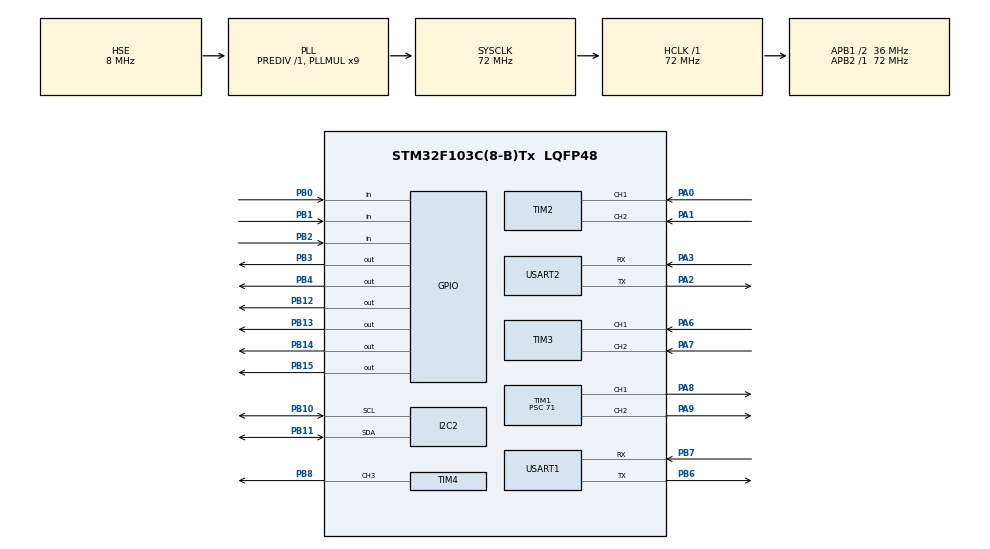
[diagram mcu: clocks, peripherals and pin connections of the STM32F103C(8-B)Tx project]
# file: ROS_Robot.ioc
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Mcu.Family=STM32F1
Mcu.Name=STM32F103C(8-B)Tx
Mcu.Package=LQFP48
NVIC.PriorityGroup=NVIC_PRIORITYGROUP_4
NVIC.TIM1_BRK_IRQn=true\:0\:0\:false\:false\:true\:true\:true\:true
NVIC.TIM1_CC_IRQn=true\:0\:0\:false\:false\:true\:true\:true\:true
NVIC.TIM1_TRG_COM_IRQn=true\:0\:0\:false\:false\:true\:true\:true\:true
NVIC.TIM1_UP_IRQn=true\:0\:0\:false\:false\:true\:true\:true\:true
NVIC.TIM2_IRQn=true\:0\:0\:false\:false\:true\:true\:true\:true
NVIC.TIM3_IRQn=true\:0\:0\:false\:false\:true\:true\:true\:true
NVIC.USART1_IRQn=true\:0\:0\:false\:false\:true\:true\:true\:true
NVIC.USART2_IRQn=true\:0\:0\:false\:false\:true\:true\:true\:true
PA0-WKUP.Signal=S_TIM2_CH1_ETR
PA1.Signal=S_TIM2_CH2
PA13.Mode=Serial_Wire
PA13.Signal=SYS_JTMS-SWDIO
PA14.Mode=Serial_Wire
PA14.Signal=SYS_JTCK-SWCLK
PA2.Mode=Asynchronous
PA2.Signal=USART2_TX
PA3.Mode=Asynchronous
PA3.Signal=USART2_RX
PA6.Signal=S_TIM3_CH1
PA7.Signal=S_TIM3_CH2
PA8.Signal=S_TIM1_CH1
PA9.Signal=S_TIM1_CH2
PB0.Signal=GPIO_Input
PB1.Signal=GPIO_Input
PB10.Mode=I2C
PB10.Signal=I2C2_SCL
PB11.Mode=I2C
PB11.Signal=I2C2_SDA
PB12.Signal=GPIO_Output
PB13.Signal=GPIO_Output
PB14.Signal=GPIO_Output
PB15.Signal=GPIO_Output
PB2.Signal=GPIO_Input
PB3.Signal=GPIO_Output
PB4.Signal=GPIO_Output
PB6.Mode=Asynchronous
PB6.Signal=USART1_TX
PB7.Mode=Asynchronous
PB7.Signal=USART1_RX
PB8.Signal=S_TIM4_CH3
PD0-OSC_IN.Mode=HSE-External-Oscillator
PD0-OSC_IN.Signal=RCC_OSC_IN
PD1-OSC_OUT.Mode=HSE-External-Oscillator
PD1-OSC_OUT.Signal=RCC_OSC_OUT
ProjectManager.HeapSize=0x200
ProjectManager.StackSize=0x400
ProjectManager.TargetToolchain=STM32CubeIDE
RCC.AHBFreq_Value=72000000
RCC.APB1CLKDivider=RCC_HCLK_DIV2
RCC.APB1Freq_Value=36000000
RCC.APB1TimFreq_Value=72000000
RCC.APB2Freq_Value=72000000
RCC.APB2TimFreq_Value=72000000
RCC.HCLKFreq_Value=72000000
RCC.PLLMUL=RCC_PLL_MUL9
RCC.PLLSourceVirtual=RCC_PLLSOURCE_HSE
RCC.SYSCLKFreq_VALUE=72000000
RCC.SYSCLKSource=RCC_SYSCLKSOURCE_PLLCLK
RCC.USBFreq_Value=72000000
SH.S_TIM1_CH1.0=TIM1_CH1,PWM Generation1 CH1
SH.S_TIM1_CH2.0=TIM1_CH2,PWM Generation2 CH2
SH.S_TIM2_CH1_ETR.0=TIM2_CH1,Encoder_Interface
SH.S_TIM2_CH2.0=TIM2_CH2,Encoder_Interface
SH.S_TIM3_CH1.0=TIM3_CH1,Encoder_Interface
SH.S_TIM3_CH2.0=TIM3_CH2,Encoder_Interface
SH.S_TIM4_CH3.0=TIM4_CH3,PWM Generation3 CH3
TIM1.Channel-PWM\ Generation1\ CH1=TIM_CHANNEL_1
TIM1.Channel-PWM\ Generation2\ CH2=TIM_CHANNEL_2
TIM1.Period=999
TIM1.Prescaler=71
TIM2.EncoderMode=TIM_ENCODERMODE_TI12
TIM4.AutoReloadPreload=TIM_AUTORELOAD_PRELOAD_ENABLE
TIM4.Channel-PWM\ Generation3\ CH3=TIM_CHANNEL_3
TIM4.Period=19999
TIM4.Prescaler=71
USART1.VirtualMode=VM_ASYNC
USART2.VirtualMode=VM_ASYNC
board=custom

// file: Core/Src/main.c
/* USER CODE BEGIN Header */
/**
  ******************************************************************************
  * @file           : main.c
  * @brief          : Main program body
  ******************************************************************************
  * @attention
  *
  * Copyright (c) 2023 STMicroelectronics.
  * All rights reserved.
  *
  * This software is licensed under terms that can be found in the LICENSE file
  * in the root directory of this software component.
  * If no LICENSE file comes with this software, it is provided AS-IS.
  *
  ******************************************************************************
  */
/* USER CODE END Header */
#include "main.h"
#include "i2c.h"
#include "tim.h"
#include "usart.h"
#include "gpio.h"

/* USER CODE BEGIN Includes */
#include "stdio.h"
#include "../BSP/retarget.h"
#include "../BSP/Servo.h"
#include "../BSP/Motor.h"
#include "../BSP/Encoder.h"
#include "../BSP/oled.h"
#include "../BSP/MY_main.h"
/* USER CODE END Includes */

/* USER CODE BEGIN PM */
extern uint8_t rx_index , rx_buffer[];
/* USER CODE END PM */

void SystemClock_Config(void);

int main(void)
{

  /* MCU Configuration--------------------------------------------------------*/

  /* Reset of all peripherals, Initializes the Flash interface and the Systick. */
  HAL_Init();

  /* Configure the system clock */
  SystemClock_Config();

  /* Initialize all configured peripherals */
  MX_GPIO_Init();
  MX_I2C2_Init();
  MX_TIM1_Init();
  MX_TIM2_Init();
  MX_TIM3_Init();
  MX_TIM4_Init();
  MX_USART1_UART_Init();
  MX_USART2_UART_Init();
  /* USER CODE BEGIN 2 */
    RetargetInit(&huart1);
    printf("初始化\r\n");
    /*舵机初始化*/
    Servo_init();
    /*舵电机初始化*/
    Motor_init();
    /*编码器初始化*/
    Encoder_init();
    HAL_UART_Receive_IT(&huart2, &rx_buffer[rx_index], 1);
    /*OLED初始化*/
    OLED_Init();
    OLED_ColorTurn(0);
    /*显示字符串 "Autopilot System"*/
    OLED_ShowString(15,0,(uint8_t *)"Autopilot System",12,1);
    /*OLED屏幕刷新*/
    OLED_Refresh();
  /* USER CODE END 2 */

  /* Infinite loop */
  /* USER CODE BEGIN WHILE */
  while (1)
  {
    my_main();
    /* USER CODE END WHILE */

  }
}

void SystemClock_Config(void)
{
  RCC_OscInitTypeDef RCC_OscInitStruct = {0};
  RCC_ClkInitTypeDef RCC_ClkInitStruct = {0};

  /** Initializes the RCC Oscillators according to the specified parameters
  * in the RCC_OscInitTypeDef structure.
  */
  RCC_OscInitStruct.OscillatorType = RCC_OSCILLATORTYPE_HSE;
  RCC_OscInitStruct.HSEState = RCC_HSE_ON;
  RCC_OscInitStruct.HSEPredivValue = RCC_HSE_PREDIV_DIV1;
  RCC_OscInitStruct.HSIState = RCC_HSI_ON;
  RCC_OscInitStruct.PLL.PLLState = RCC_PLL_ON;
  RCC_OscInitStruct.PLL.PLLSource = RCC_PLLSOURCE_HSE;
  RCC_OscInitStruct.PLL.PLLMUL = RCC_PLL_MUL9;
  if (HAL_RCC_OscConfig(&RCC_OscInitStruct) != HAL_OK)
  {
    Error_Handler();
  }

  /** Initializes the CPU, AHB and APB buses clocks
  */
  RCC_ClkInitStruct.ClockType = RCC_CLOCKTYPE_HCLK|RCC_CLOCKTYPE_SYSCLK
                              |RCC_CLOCKTYPE_PCLK1|RCC_CLOCKTYPE_PCLK2;
  RCC_ClkInitStruct.SYSCLKSource = RCC_SYSCLKSOURCE_PLLCLK;
  RCC_ClkInitStruct.AHBCLKDivider = RCC_SYSCLK_DIV1;
  RCC_ClkInitStruct.APB1CLKDivider = RCC_HCLK_DIV2;
  RCC_ClkInitStruct.APB2CLKDivider = RCC_HCLK_DIV1;

  if (HAL_RCC_ClockConfig(&RCC_ClkInitStruct, FLASH_LATENCY_2) != HAL_OK)
  {
    Error_Handler();
  }
}

void Error_Handler(void)
{
  __disable_irq();
  while (1)
  {
  }
}
